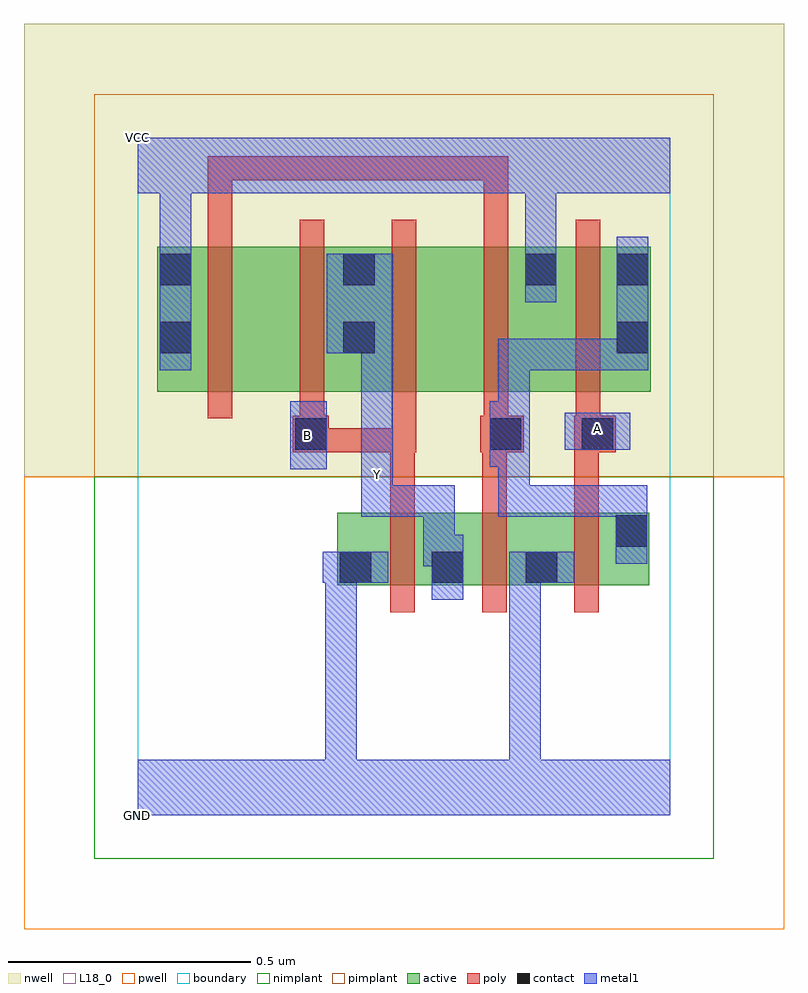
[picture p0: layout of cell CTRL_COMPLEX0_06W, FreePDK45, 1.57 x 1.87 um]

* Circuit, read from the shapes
.subckt CTRL_COMPLEX0_06W A B GND VCC Y
M1 Y B GND VSUBS nfet w=0.15u l=0.05u
M2 GND n1 Y VSUBS nfet w=0.15u l=0.05u
M3 n1 A GND VSUBS nfet w=0.15u l=0.05u
M4 n2 n1 VCC n3 pfet w=0.3u l=0.05u
M5 Y B n2 n3 pfet w=0.3u l=0.05u
M6 n4 B Y n3 pfet w=0.3u l=0.05u
M7 VCC n1 n4 n3 pfet w=0.3u l=0.05u
M8 n1 A VCC n3 pfet w=0.3u l=0.05u
.ends

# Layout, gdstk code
import gdstk
lib = gdstk.Library(unit=1e-6, precision=1e-09)
def R(c, l, rs):  # rectangles x0, y0, x1, y1
    for r in rs: c.add(gdstk.rectangle(r[:2], r[2:], *l))
def A(c, l, x, y, w, h, nx, ny, dx, dy):  # array of equal rectangles
    R(c, l, [(x+i*dx, y+j*dy, x+i*dx+w, y+j*dy+h) for i in range(nx) for j in range(ny)])
active = (1, 0)
pwell = (2, 0)
nwell = (3, 0)
nimplant = (4, 0)
pimplant = (5, 0)
poly = (9, 0)
contact = (10, 0)
metal1 = (11, 0)
L18_0 = (18, 0)
boundary = (235, 0)

ctrl_complex0_06w = lib.new_cell('CTRL_COMPLEX0_06W')
R(ctrl_complex0_06w, active, [(0.412,0.475,0.487,0.625), (0.412,0.475,0.677,0.625), (0.602,0.475,0.677,0.625), (0.602,0.475,0.872,0.625), (0.797,0.475,1.057,0.625), (0.797,0.475,0.872,0.55), (0.982,0.475,1.057,0.625), (0.04,0.875,0.115,1.175), (0.04,0.875,0.265,1.175), (0.265,0.875,0.495,1.175), (0.42,0.875,0.495,1.175), (0.42,0.875,0.645,1.175), (0.645,0.875,0.87,1.175), (0.795,0.875,1.06,1.175), (0.795,0.875,0.87,1.175), (0.985,0.875,1.06,1.165)])
R(ctrl_complex0_06w, pwell, [(-0.235,-0.235,1.335,0.7)])
R(ctrl_complex0_06w, nwell, [(-0.235,0.7,1.335,1.635)])
R(ctrl_complex0_06w, nimplant, [(-0.09,-0.09,1.19,0.7)])
R(ctrl_complex0_06w, pimplant, [(-0.09,0.7,1.19,1.49)])
A(ctrl_complex0_06w, poly, 0.522, 0.42, 0.05, 0.26, 3, 1, 0.19, 0)
A(ctrl_complex0_06w, poly, 0.522, 0.63, 0.05, 0.17, 3, 1, 0.19, 0)
A(ctrl_complex0_06w, poly, 0.145, 0.82, 0.05, 0.41, 5, 1, 0.19, 0)
R(ctrl_complex0_06w, poly, [(0.32,0.75,0.395,0.825), (0.345,0.75,0.46,0.8), (0.41,0.75,0.46,0.8), (0.41,0.75,0.572,0.8), (0.522,0.75,0.575,0.8), (0.525,0.75,0.575,0.87), (0.707,0.75,0.797,0.825), (0.902,0.75,0.987,0.825), (0.335,0.775,0.385,0.87), (0.715,0.775,0.765,0.87), (0.905,0.775,0.955,0.87), (0.145,1.18,0.195,1.362), (0.715,1.18,0.765,1.362), (0.145,1.312,0.195,1.362), (0.145,1.312,0.195,1.362), (0.145,1.312,0.195,1.362), (0.145,1.312,0.44,1.362), (0.39,1.312,0.44,1.362), (0.39,1.312,0.482,1.362), (0.432,1.312,0.482,1.362), (0.432,1.312,0.575,1.362), (0.525,1.312,0.575,1.362), (0.525,1.312,0.73,1.362), (0.68,1.312,0.765,1.362), (0.68,1.312,0.73,1.362), (0.715,1.312,0.765,1.362)])
R(ctrl_complex0_06w, contact, [(0.417,0.48,0.482,0.545), (0.607,0.48,0.672,0.545), (0.802,0.48,0.867,0.545), (0.987,0.555,1.052,0.62), (0.325,0.755,0.39,0.82), (0.727,0.755,0.792,0.82), (0.917,0.755,0.982,0.82), (0.045,0.955,0.11,1.02), (0.425,0.955,0.49,1.02), (0.99,0.955,1.055,1.02), (0.045,1.095,0.11,1.16), (0.425,1.095,0.49,1.16), (0.8,1.095,0.865,1.16), (0.99,1.095,1.055,1.16)])
R(ctrl_complex0_06w, metal1, [(0,0,1.1,0.115), (0.387,0.05,0.452,0.545), (0.767,0.05,0.832,0.115), (0.767,0.05,0.832,0.115), (0.767,0.05,0.832,0.115), (0.767,0.05,0.832,0.115), (0.767,0.05,0.832,0.545), (0.607,0.445,0.672,0.58), (0.382,0.48,0.517,0.545), (0.387,0.48,0.452,0.545), (0.387,0.48,0.452,0.545), (0.387,0.48,0.452,0.545), (0.387,0.48,0.452,0.545), (0.387,0.48,0.452,0.545), (0.387,0.48,0.452,0.545), (0.767,0.48,0.832,0.545), (0.767,0.48,0.832,0.545), (0.767,0.48,0.902,0.545), (0.59,0.515,0.672,0.58), (0.59,0.515,0.655,0.682), (0.987,0.52,1.052,0.655), (0.987,0.59,1.052,0.655), (0.987,0.59,1.052,0.682), (0.462,0.617,0.527,0.682), (0.462,0.617,0.655,0.682), (0.462,0.617,0.527,0.702), (0.745,0.617,0.81,0.682), (0.745,0.617,1.052,0.682), (0.745,0.617,0.81,0.82), (0.462,0.637,0.527,0.772), (0.462,0.707,0.527,1.02), (0.315,0.715,0.39,0.855), (0.727,0.72,0.81,0.855), (0.745,0.755,0.81,0.82), (0.745,0.755,0.81,0.82), (0.745,0.755,0.81,0.985), (0.882,0.755,1.017,0.832), (0.045,0.92,0.11,1.195), (0.745,0.92,0.81,0.985), (0.745,0.92,1.055,0.985), (0.99,0.92,1.055,0.985), (0.99,0.92,1.055,0.985), (0.99,0.92,1.055,1.195), (0.39,0.955,0.527,1.16), (0.8,1.06,0.865,1.195), (0.045,1.13,0.11,1.195), (0.045,1.13,0.11,1.195), (0.045,1.13,0.11,1.35), (0.8,1.13,0.865,1.195), (0.8,1.13,0.865,1.195), (0.8,1.13,0.865,1.35), (0,1.285,1.1,1.4)])
R(ctrl_complex0_06w, L18_0, [(0,0,1.1,0.115), (0.387,0.05,0.452,0.545), (0.767,0.05,0.832,0.115), (0.767,0.05,0.832,0.115), (0.767,0.05,0.832,0.115), (0.767,0.05,0.832,0.115), (0.767,0.05,0.832,0.545), (0.607,0.445,0.672,0.58), (0.382,0.48,0.517,0.545), (0.387,0.48,0.452,0.545), (0.387,0.48,0.452,0.545), (0.387,0.48,0.452,0.545), (0.387,0.48,0.452,0.545), (0.387,0.48,0.452,0.545), (0.387,0.48,0.452,0.545), (0.767,0.48,0.832,0.545), (0.767,0.48,0.832,0.545), (0.767,0.48,0.902,0.545), (0.59,0.515,0.655,0.682), (0.59,0.515,0.672,0.58), (0.462,0.617,0.527,0.682), (0.462,0.617,0.527,0.702), (0.462,0.617,0.655,0.682), (0.462,0.637,0.527,0.772), (0.462,0.672,0.527,0.737), (0.462,0.707,0.527,1.02), (0.315,0.715,0.39,0.855), (0.317,0.752,0.382,0.817), (0.882,0.755,1.017,0.832), (0.917,0.767,0.982,0.832), (0.045,0.92,0.11,1.195), (0.39,0.955,0.527,1.16), (0.8,1.06,0.865,1.195), (0.045,1.13,0.11,1.195), (0.045,1.13,0.11,1.195), (0.045,1.13,0.11,1.35), (0.8,1.13,0.865,1.195), (0.8,1.13,0.865,1.195), (0.8,1.13,0.865,1.35), (0,1.285,1.1,1.4)])
R(ctrl_complex0_06w, boundary, [(0,0,1.1,1.4)])
ctrl_complex0_06w.add(gdstk.Label('A', (0.95,0.8), layer=11, texttype=0))
ctrl_complex0_06w.add(gdstk.Label('B', (0.35,0.785), layer=11, texttype=0))
ctrl_complex0_06w.add(gdstk.Label('Y', (0.495,0.705), layer=11, texttype=0))
ctrl_complex0_06w.add(gdstk.Label('VCC', (0,1.4), layer=11, texttype=0))
ctrl_complex0_06w.add(gdstk.Label('GND', (0,0), layer=11, texttype=0))

lib.write_gds('CTRL_COMPLEX0_06W.gds')
